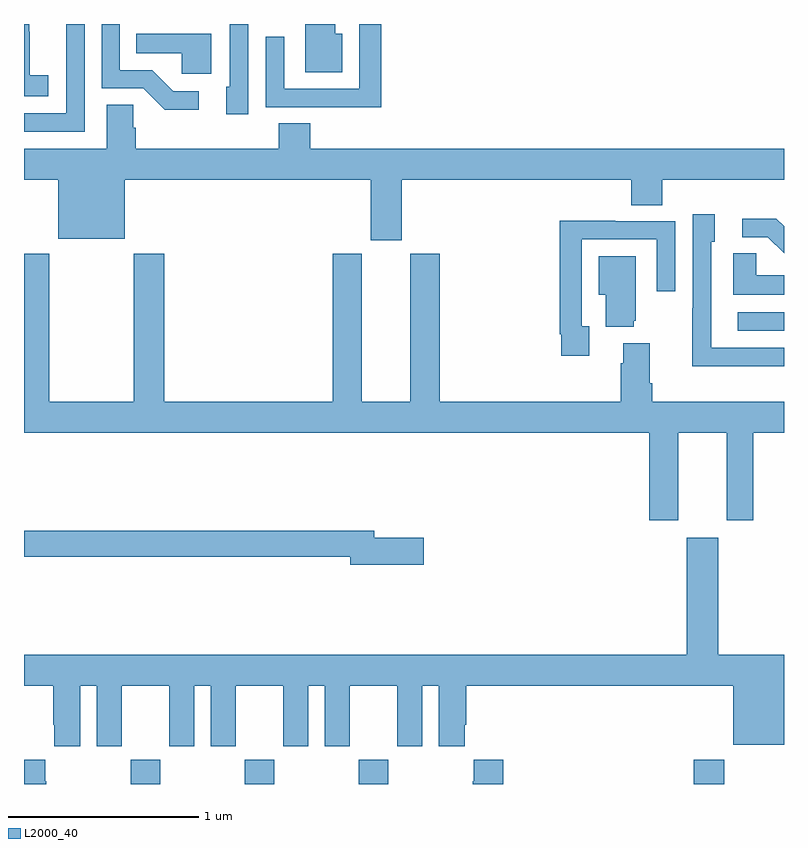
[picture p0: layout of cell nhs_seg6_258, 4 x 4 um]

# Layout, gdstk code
import gdstk
lib = gdstk.Library(unit=1e-6, precision=1e-09)
def R(c, l, rs):  # rectangles x0, y0, x1, y1
    for r in rs: c.add(gdstk.rectangle(r[:2], r[2:], *l))
def A(c, l, x, y, w, h, nx, ny, dx, dy):  # array of equal rectangles
    R(c, l, [(x+i*dx, y+j*dy, x+i*dx+w, y+j*dy+h) for i in range(nx) for j in range(ny)])
def P(c, l, *ps):  # polygons
    for p in ps: c.add(gdstk.Polygon(p, *l))
L2000_40 = (2000, 40)

nhs_seg6_258 = lib.new_cell('nhs_seg6_258')
A(nhs_seg6_258, L2000_40, 125.563, 933.5, 0.155, 0.128, 3, 1, 0.6, 0)
R(nhs_seg6_258, L2000_40, [(128.525,933.5,128.685,933.628), (128.757,935.886,129,935.982)])
P(nhs_seg6_258, L2000_40, [(125.92,937.146),(125.785,937.146),(125.674,937.257),(125.505,937.257),(125.505,937.5),(125.409,937.5),(125.409,937.161),(125.628,937.161),(125.741,937.049),(125.92,937.049)],
  [(126.881,937.5),(126.765,937.5),(126.765,937.158),(126.369,937.158),(126.369,937.432),(126.273,937.432),(126.273,937.062),(126.589,937.062),(126.589,937.061),(126.881,937.061)],
  [(126.676,937.45),(126.637,937.45),(126.637,937.5),(126.479,937.5),(126.479,937.247),(126.676,937.247)],
  [(126.18,937.5),(126.083,937.5),(126.083,937.474),(126.084,937.474),(126.084,937.17),(126.065,937.17),(126.065,937.026),(126.18,937.026)],
  [(125.319,937.5),(125.113,937.5),(125.113,937.498),(125.223,937.498),(125.223,937.029),(125,937.029),(125,936.933),(125.319,936.933)],
  [(125.128,937.231),(125.03,937.231),(125.03,937.46),(125.028,937.46),(125.028,937.5),(125,937.5),(125,937.121),(125.128,937.121)],
  [(125.986,937.45),(125.59,937.45),(125.59,937.346),(125.829,937.346),(125.829,937.238),(125.986,937.238)],
  [(126.988,936.68),(128.195,936.68),(128.195,936.547),(128.36,936.547),(128.36,936.68),(129,936.68),(129,936.844),(126.506,936.844),(126.506,936.977),(126.341,936.977),(126.341,936.844),(125.588,936.844),(125.588,936.953),(125.574,936.953),(125.574,937.076),(125.435,937.076),(125.435,936.844),(125,936.844),(125,936.68),(125.18,936.68),(125.18,936.371),(125.53,936.371),(125.53,936.68),(126.824,936.68),(126.824,936.363),(126.988,936.363)],
  [(128.981,935.7),(129,935.7),(129,935.796),(128.616,935.796),(128.616,936.354),(128.635,936.354),(128.635,936.499),(128.52,936.499),(128.52,936.005),(128.518,936.005),(128.518,935.699),(128.981,935.699)],
  [(129,936.435),(128.959,936.476),(128.781,936.476),(128.781,936.378),(128.915,936.378),(129,936.293)],
  [(127.975,935.91),(127.935,935.91),(127.935,936.366),(128.331,936.366),(128.331,936.093),(128.427,936.093),(128.427,936.462),(128.111,936.462),(128.111,936.464),(127.819,936.464),(127.819,935.866),(127.827,935.866),(127.827,935.754),(127.975,935.754)],
  [(129,936.178),(128.853,936.178),(128.853,936.293),(128.732,936.293),(128.732,936.074),(129,936.074)],
  [(128.443,935.348),(128.699,935.348),(128.699,934.887),(128.839,934.887),(128.839,935.348),(129,935.348),(129,935.512),(128.306,935.512),(128.306,935.608),(128.293,935.608),(128.293,935.821),(128.153,935.821),(128.153,935.714),(128.141,935.714),(128.141,935.512),(127.187,935.512),(127.187,936.291),(127.034,936.291),(127.034,935.512),(126.778,935.512),(126.778,936.291),(126.626,936.291),(126.626,935.512),(125.738,935.512),(125.738,936.292),(125.578,936.292),(125.578,935.512),(125.133,935.512),(125.133,936.292),(125,936.292),(125,935.348),(128.291,935.348),(128.291,934.887),(128.443,934.887)],
  [(128.21,935.937),(128.221,935.937),(128.221,936.277),(128.024,936.277),(128.024,936.074),(128.063,936.074),(128.063,935.906),(128.21,935.906)],
  [(127.105,934.796),(126.844,934.796),(126.844,934.832),(125,934.832),(125,934.696),(126.716,934.696),(126.716,934.654),(127.105,934.654)],
  [(125.296,934.016),(125.384,934.016),(125.384,933.699),(125.515,933.699),(125.515,934.016),(125.765,934.016),(125.765,933.699),(125.896,933.699),(125.896,934.016),(125.984,934.016),(125.984,933.699),(126.115,933.699),(126.115,934.016),(126.365,934.016),(126.365,933.699),(126.496,933.699),(126.496,934.016),(126.584,934.016),(126.584,933.699),(126.715,933.699),(126.715,934.016),(126.965,934.016),(126.965,933.699),(127.096,933.699),(127.096,934.016),(127.184,934.016),(127.184,933.699),(127.321,933.699),(127.321,933.811),(127.328,933.811),(127.328,934.016),(128.732,934.016),(128.732,933.707),(129,933.707),(129,934.18),(128.653,934.18),(128.653,934.795),(128.489,934.795),(128.489,934.18),(125,934.18),(125,934.016),(125.153,934.016),(125.153,933.811),(125.159,933.811),(125.159,933.699),(125.296,933.699)],
  [(127.523,933.628),(127.367,933.628),(127.367,933.515),(127.363,933.515),(127.363,933.5),(127.523,933.5)],
  [(125.118,933.515),(125.113,933.515),(125.113,933.628),(125,933.628),(125,933.5),(125.118,933.5)])

lib.write_gds('nhs_seg6_258.gds')
